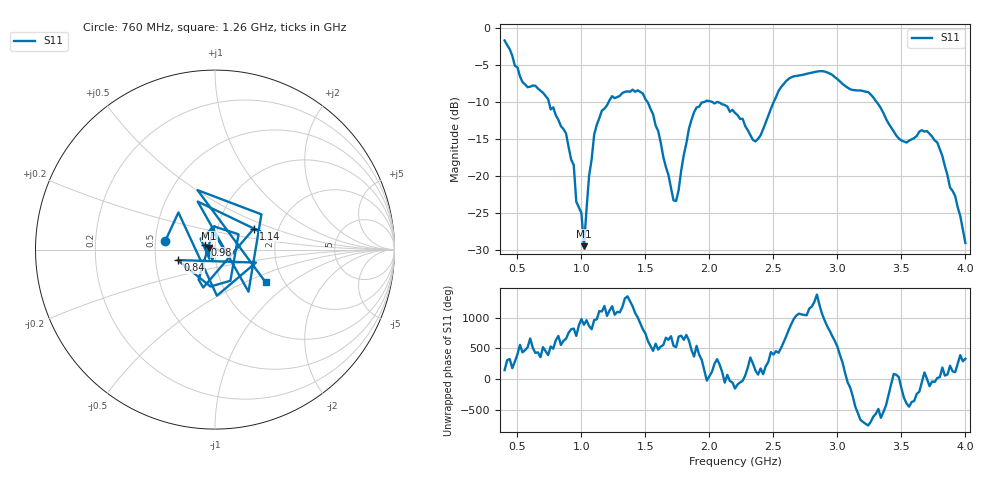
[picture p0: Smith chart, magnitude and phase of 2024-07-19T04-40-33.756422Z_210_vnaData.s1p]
!Created with skrf (http://scikit-rf.org).
# Hz S RI R 50.0
!freq ReS11 ImS11
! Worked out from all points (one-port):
!   181 points, 400 MHz to 4 GHz, reference 50 ohm
!   lowest |S11| = -29.5 dB at 1.02 GHz (marker M1), VSWR 1.07, Z = 46.9 + j0.824 ohm
!   |S11| at or under -10 dB: 745.3 MHz to 1.213 GHz (468.1 MHz wide, 47.8 % of centre); 2.022 GHz to 2.503 GHz (481.2 MHz wide, 21.3 % of centre); 3.305 GHz to end of sweep (the widest 3 of 4)
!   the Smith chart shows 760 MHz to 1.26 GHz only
!   S11 on the Smith chart (normalised r, x): 760 MHz: 0.56, +0.06; 840 MHz: 0.65, -0.08; 980 MHz: 0.89, +0.05; 1.14 GHz: 1.50, +0.37; 1.26 GHz: 1.62, -0.66
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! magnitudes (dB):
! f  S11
! 400 MHz  -1.7
! 540 MHz  -7.3
! 760 MHz  -11.0
! 840 MHz  -13.3
! 860 MHz  -13.7
! 940 MHz  -18.5
! 960 MHz  -23.5
! 980 MHz  -24.2
! 1 GHz  -25.0
! 1.02 GHz  -29.5
! 1.06 GHz  -20.0
! 1.14 GHz  -12.2
! 1.26 GHz  -9.5
! 1.3 GHz  -9.2
! 1.48 GHz  -8.9
! 1.6 GHz  -13.9
! 1.72 GHz  -23.3
! 1.76 GHz  -21.9
! 1.84 GHz  -13.6
! 1.9 GHz  -10.8
! 2.2 GHz  -11.5
! 2.36 GHz  -15.3
! 2.66 GHz  -6.5
! 3.1 GHz  -8.3
! 3.24 GHz  -8.7
! 3.56 GHz  -15.2
! 3.78 GHz  -15.5
! 4 GHz  -29.0
